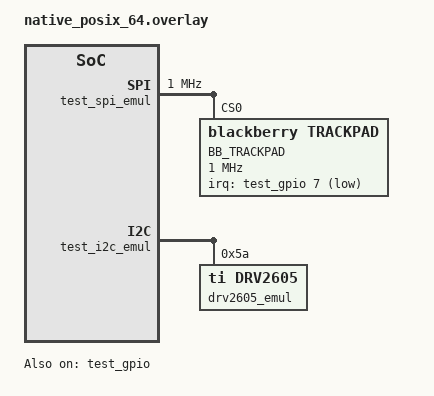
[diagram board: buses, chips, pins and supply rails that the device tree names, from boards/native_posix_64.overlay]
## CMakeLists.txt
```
# SPDX-License-Identifier: Apache-2.0

cmake_minimum_required(VERSION 3.20.0)
find_package(Zephyr REQUIRED HINTS $ENV{ZEPHYR_BASE})
project(full_system_integration)

target_sources(app PRIVATE src/main.c)

# Include drivers conditionally
target_sources_ifdef(CONFIG_BLACKBERRY_TRACKPAD app PRIVATE ${CMAKE_CURRENT_SOURCE_DIR}/../../../drivers/input/blackberry_trackpad.c)
target_sources_ifdef(CONFIG_DRV2605 app PRIVATE ${CMAKE_CURRENT_SOURCE_DIR}/../../../drivers/misc/drv2605.c)
```

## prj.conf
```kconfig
# Integration: full-system combines DRV2605 + BlackBerry trackpad
CONFIG_ZTEST=y
CONFIG_ZTEST_NEW_API=y
CONFIG_TEST_LOGGING_DEFAULTS=y

# Core subsystems
CONFIG_INPUT=y
CONFIG_I2C=y
CONFIG_SPI=y
CONFIG_GPIO=y

# Emulation support
CONFIG_I2C_EMUL=y
CONFIG_SPI_EMUL=y
CONFIG_GPIO_EMUL=y
CONFIG_EMUL=y

# Enable custom drivers
CONFIG_DRV2605=y
CONFIG_BLACKBERRY_TRACKPAD=y

# Logging
CONFIG_LOG=y
CONFIG_LOG_DEFAULT_LEVEL=3
CONFIG_LOG_BACKEND_SHOW_COLOR=n

# Runtime
CONFIG_MAIN_STACK_SIZE=2048
CONFIG_IDLE_STACK_SIZE=1024
CONFIG_BOOT_BANNER=n
```

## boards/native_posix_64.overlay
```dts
/* Full-system integration overlay: both emulated devices present */

/ {
    aliases {
        bb-trackpad = &bb_trackpad;
    };

    chosen {
        zephyr,console = &uart0;
        zephyr,shell-uart = &uart0;
    };

    /* SPI emulator with BlackBerry trackpad */
    test_spi_emul: spi_emul@1000 {
        compatible = "zephyr,spi-emul-controller";
        reg = <0x1000 0x100>;
        clock-frequency = <1000000>;
        #address-cells = <1>;
        #size-cells = <0>;
        status = "okay";

        bb_trackpad: bb_trackpad_emul@0 {
            compatible = "blackberry,trackpad";
            reg = <0>;
            label = "BB_TRACKPAD";
            spi-max-frequency = <1000000>;
            irq-gpios = <&test_gpio 7 GPIO_ACTIVE_LOW>;
            scale-x = <2>;
            scale-y = <2>;
            invert-x;
            status = "okay";
        };
    };

    /* I2C emulator with DRV2605 */
    test_i2c_emul: i2c_emul@3000 {
        compatible = "zephyr,i2c-emul";
        reg = <0x3000 0x100>;
        #address-cells = <1>;
        #size-cells = <0>;
        status = "okay";

        drv2605_emul: drv2605@5a {
            compatible = "ti,drv2605";
            reg = <0x5a>;
            status = "okay";
        };
    };

    /* GPIO emulator */
    test_gpio: gpio_emul@2000 {
        compatible = "zephyr,gpio-emul";
        reg = <0x2000 4>;
        gpio-controller;
        #gpio-cells = <2>;
        ngpios = <32>;
        status = "okay";
    };
};
```

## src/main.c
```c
/*
 * SPDX-License-Identifier: Apache-2.0
 */

#include <zephyr/device.h>
#include <zephyr/devicetree.h>
#include <zephyr/input/input.h>
#include <zephyr/kernel.h>
#include <zephyr/logging/log.h>

LOG_MODULE_REGISTER(full_system_it, CONFIG_LOG_DEFAULT_LEVEL);

#if DT_NODE_EXISTS(DT_ALIAS(bb_trackpad))
#define BB_TRACKPAD_NODE DT_ALIAS(bb_trackpad)
#else
#define BB_TRACKPAD_NODE DT_INVALID_NODE
#endif

static void motion_thread(void)
{
    /* Delay slightly to ensure system is up */
    k_sleep(K_MSEC(20));

#if !DT_NODE_HAS_STATUS(BB_TRACKPAD_NODE, okay)
    LOG_WRN("No bb_trackpad node; skipping motion injection");
    return;
#else
    const struct device *dev = DEVICE_DT_GET(BB_TRACKPAD_NODE);
    if (!device_is_ready(dev)) {
        LOG_WRN("bb_trackpad device not ready");
        return;
    }

    /* Inject a deterministic motion and emit expected logs */
    int16_t dx = 5, dy = -3;
    input_report_abs(dev, INPUT_REL_X, dx, false, K_NO_WAIT);
    input_report_abs(dev, INPUT_REL_Y, dy, true, K_NO_WAIT);

    /* Log lines consumed by events.patterns */
    LOG_INF("trackpad_motion_detected: dx=%d dy=%d", dx, dy);
    LOG_INF("input_processor_scale: x=%d y=%d", dx * 2, dy * 2);
#endif
}

K_THREAD_DEFINE(full_it_tid, 1024, motion_thread, NULL, NULL, NULL, 5, 0, 0);
```
